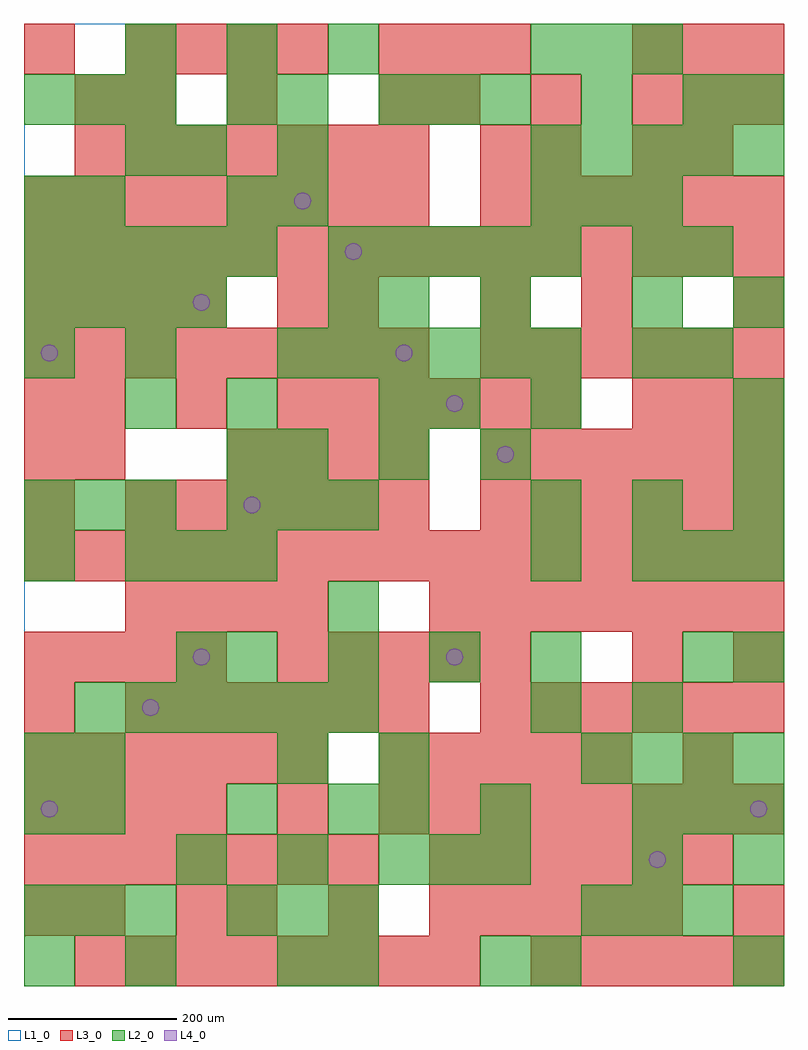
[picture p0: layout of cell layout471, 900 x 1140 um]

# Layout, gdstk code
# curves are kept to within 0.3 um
import gdstk
lib = gdstk.Library(unit=1e-6, precision=1e-09)
def R(c, l, rs):  # rectangles x0, y0, x1, y1
    for r in rs: c.add(gdstk.rectangle(r[:2], r[2:], *l))
def A(c, l, x, y, w, h, nx, ny, dx, dy):  # array of equal rectangles
    R(c, l, [(x+i*dx, y+j*dy, x+i*dx+w, y+j*dy+h) for i in range(nx) for j in range(ny)])
def P(c, l, *ps):  # polygons
    for p in ps: c.add(gdstk.Polygon(p, *l))
L1_0 = (1, 0)
L2_0 = (2, 0)
L3_0 = (3, 0)
L4_0 = (4, 0)

layout471 = lib.new_cell('layout471')
R(layout471, L1_0, [(0,0,900,1140)])
A(layout471, L2_0, 0, 60, 60, 60, 3, 3, 60, 480)
A(layout471, L2_0, 240, 60, 60, 60, 3, 2, 60, 480)
A(layout471, L2_0, 660, 60, 60, 60, 3, 1, 60, 0)
A(layout471, L2_0, 180, 120, 60, 60, 3, 1, 120, 0)
A(layout471, L2_0, 840, 120, 60, 60, 1, 3, 0, 240)
A(layout471, L2_0, 720, 180, 60, 60, 3, 2, 60, 300)
A(layout471, L2_0, 0, 240, 60, 60, 1, 3, 0, 240)
A(layout471, L2_0, 660, 240, 60, 60, 4, 1, 60, 0)
A(layout471, L2_0, 60, 300, 60, 60, 6, 1, 60, 0)
A(layout471, L2_0, 600, 300, 60, 60, 1, 3, 0, 180)
A(layout471, L2_0, 240, 360, 60, 60, 4, 1, 120, 0)
A(layout471, L2_0, 120, 480, 60, 60, 3, 1, 60, 0)
A(layout471, L2_0, 600, 540, 60, 60, 3, 1, 120, 0)
A(layout471, L2_0, 300, 600, 60, 60, 3, 1, 120, 0)
A(layout471, L2_0, 300, 720, 60, 60, 6, 1, 60, 0)
A(layout471, L2_0, 720, 720, 60, 60, 1, 3, 0, 60)
A(layout471, L2_0, 0, 780, 60, 60, 4, 1, 60, 0)
A(layout471, L2_0, 0, 840, 60, 60, 5, 1, 60, 0)
A(layout471, L2_0, 360, 840, 60, 60, 5, 1, 60, 0)
A(layout471, L2_0, 300, 900, 60, 60, 1, 3, 0, 60)
A(layout471, L2_0, 600, 900, 60, 60, 3, 2, 60, 180)
A(layout471, L2_0, 600, 960, 60, 60, 5, 1, 60, 0)
A(layout471, L2_0, 420, 1020, 60, 60, 3, 1, 60, 0)
A(layout471, L2_0, 120, 1080, 60, 60, 3, 1, 120, 0)
R(layout471, L2_0, [(0,0,60,60), (120,0,180,60), (300,0,360,60), (360,0,420,60), (540,0,600,60), (600,0,660,60), (840,0,900,60), (480,120,540,180), (540,120,600,180), (720,120,780,180), (0,180,60,240), (60,180,120,240), (240,180,300,240), (360,180,420,240), (420,180,480,240), (540,180,600,240), (60,240,120,300), (300,240,360,300), (420,240,480,300), (720,300,780,360), (180,360,240,420), (780,360,840,420), (360,420,420,480), (240,600,300,660), (120,660,180,720), (240,660,300,720), (420,660,480,720), (480,660,540,720), (840,660,900,720), (120,720,180,780), (780,720,840,780), (360,780,420,840), (420,780,480,840), (540,780,600,840), (840,780,900,840), (780,840,840,900), (0,900,60,960), (60,900,120,960), (240,900,300,960), (120,960,180,1020), (180,960,240,1020), (240,1020,300,1080), (660,1020,720,1080), (780,1020,840,1080), (840,1020,900,1080)])
A(layout471, L3_0, 60, 0, 60, 60, 8, 1, 60, 0)
A(layout471, L3_0, 600, 0, 60, 60, 5, 1, 60, 0)
A(layout471, L3_0, 0, 60, 60, 60, 1, 3, 0, 240)
A(layout471, L3_0, 240, 60, 60, 60, 3, 1, 120, 0)
A(layout471, L3_0, 540, 60, 60, 60, 4, 1, 60, 0)
A(layout471, L3_0, 0, 120, 60, 60, 7, 1, 60, 0)
A(layout471, L3_0, 480, 120, 60, 60, 6, 1, 60, 0)
A(layout471, L3_0, 0, 180, 60, 60, 4, 2, 60, 180)
A(layout471, L3_0, 420, 180, 60, 60, 8, 1, 60, 0)
A(layout471, L3_0, 0, 240, 60, 60, 6, 1, 60, 0)
A(layout471, L3_0, 420, 240, 60, 60, 5, 1, 60, 0)
A(layout471, L3_0, 120, 300, 60, 60, 6, 2, 60, 240)
A(layout471, L3_0, 540, 300, 60, 60, 6, 2, 60, 240)
A(layout471, L3_0, 300, 360, 60, 60, 5, 1, 60, 0)
A(layout471, L3_0, 120, 420, 60, 60, 4, 2, 60, 660)
A(layout471, L3_0, 480, 420, 60, 60, 7, 1, 60, 0)
A(layout471, L3_0, 0, 480, 60, 60, 15, 2, 60, 360)
A(layout471, L3_0, 240, 600, 60, 60, 4, 1, 60, 0)
A(layout471, L3_0, 540, 600, 60, 60, 6, 2, 60, 120)
A(layout471, L3_0, 60, 660, 60, 60, 3, 1, 120, 0)
A(layout471, L3_0, 360, 660, 60, 60, 5, 1, 60, 0)
A(layout471, L3_0, 720, 660, 60, 60, 3, 2, 60, 420)
A(layout471, L3_0, 0, 720, 60, 60, 8, 2, 60, 180)
A(layout471, L3_0, 0, 780, 60, 60, 4, 1, 60, 0)
A(layout471, L3_0, 540, 900, 60, 60, 6, 1, 60, 0)
A(layout471, L3_0, 60, 960, 60, 60, 7, 1, 60, 0)
A(layout471, L3_0, 480, 1020, 60, 60, 3, 1, 120, 0)
A(layout471, L3_0, 420, 1080, 60, 60, 3, 1, 60, 0)
R(layout471, L3_0, [(60,60,120,120), (180,60,240,120), (840,60,900,120), (300,180,360,240), (780,240,840,300), (720,360,780,420), (840,360,900,420), (0,600,60,660), (60,600,120,660), (0,660,60,720), (300,780,360,840), (360,780,420,840), (540,780,600,840), (660,780,720,840), (840,780,900,840), (540,960,600,1020), (600,960,660,1020), (720,960,780,1020), (780,960,840,1020), (60,1020,120,1080), (120,1020,180,1080), (240,1020,300,1080), (420,1020,480,1080), (780,1020,840,1080), (840,1020,900,1080), (0,1080,60,1140)])
P(layout471, L4_0, [(40,210),(39.239,213.827),(37.071,217.071),(33.827,219.239),(30,220),(26.173,219.239),(22.929,217.071),(20.761,213.827),(20,210),(20.761,206.173),(22.929,202.929),(26.173,200.761),(30,200),(33.827,200.761),(37.071,202.929),(39.239,206.173)],
  [(40,750),(39.239,753.827),(37.071,757.071),(33.827,759.239),(30,760),(26.173,759.239),(22.929,757.071),(20.761,753.827),(20,750),(20.761,746.173),(22.929,742.929),(26.173,740.761),(30,740),(33.827,740.761),(37.071,742.929),(39.239,746.173)],
  [(160,330),(159.239,333.827),(157.071,337.071),(153.827,339.239),(150,340),(146.173,339.239),(142.929,337.071),(140.761,333.827),(140,330),(140.761,326.173),(142.929,322.929),(146.173,320.761),(150,320),(153.827,320.761),(157.071,322.929),(159.239,326.173)],
  [(220,390),(219.239,393.827),(217.071,397.071),(213.827,399.239),(210,400),(206.173,399.239),(202.929,397.071),(200.761,393.827),(200,390),(200.761,386.173),(202.929,382.929),(206.173,380.761),(210,380),(213.827,380.761),(217.071,382.929),(219.239,386.173)],
  [(220,810),(219.239,813.827),(217.071,817.071),(213.827,819.239),(210,820),(206.173,819.239),(202.929,817.071),(200.761,813.827),(200,810),(200.761,806.173),(202.929,802.929),(206.173,800.761),(210,800),(213.827,800.761),(217.071,802.929),(219.239,806.173)],
  [(280,570),(279.239,573.827),(277.071,577.071),(273.827,579.239),(270,580),(266.173,579.239),(262.929,577.071),(260.761,573.827),(260,570),(260.761,566.173),(262.929,562.929),(266.173,560.761),(270,560),(273.827,560.761),(277.071,562.929),(279.239,566.173)],
  [(340,930),(339.239,933.827),(337.071,937.071),(333.827,939.239),(330,940),(326.173,939.239),(322.929,937.071),(320.761,933.827),(320,930),(320.761,926.173),(322.929,922.929),(326.173,920.761),(330,920),(333.827,920.761),(337.071,922.929),(339.239,926.173)],
  [(400,870),(399.239,873.827),(397.071,877.071),(393.827,879.239),(390,880),(386.173,879.239),(382.929,877.071),(380.761,873.827),(380,870),(380.761,866.173),(382.929,862.929),(386.173,860.761),(390,860),(393.827,860.761),(397.071,862.929),(399.239,866.173)],
  [(460,750),(459.239,753.827),(457.071,757.071),(453.827,759.239),(450,760),(446.173,759.239),(442.929,757.071),(440.761,753.827),(440,750),(440.761,746.173),(442.929,742.929),(446.173,740.761),(450,740),(453.827,740.761),(457.071,742.929),(459.239,746.173)],
  [(520,390),(519.239,393.827),(517.071,397.071),(513.827,399.239),(510,400),(506.173,399.239),(502.929,397.071),(500.761,393.827),(500,390),(500.761,386.173),(502.929,382.929),(506.173,380.761),(510,380),(513.827,380.761),(517.071,382.929),(519.239,386.173)],
  [(520,690),(519.239,693.827),(517.071,697.071),(513.827,699.239),(510,700),(506.173,699.239),(502.929,697.071),(500.761,693.827),(500,690),(500.761,686.173),(502.929,682.929),(506.173,680.761),(510,680),(513.827,680.761),(517.071,682.929),(519.239,686.173)],
  [(580,630),(579.239,633.827),(577.071,637.071),(573.827,639.239),(570,640),(566.173,639.239),(562.929,637.071),(560.761,633.827),(560,630),(560.761,626.173),(562.929,622.929),(566.173,620.761),(570,620),(573.827,620.761),(577.071,622.929),(579.239,626.173)],
  [(760,150),(759.239,153.827),(757.071,157.071),(753.827,159.239),(750,160),(746.173,159.239),(742.929,157.071),(740.761,153.827),(740,150),(740.761,146.173),(742.929,142.929),(746.173,140.761),(750,140),(753.827,140.761),(757.071,142.929),(759.239,146.173)],
  [(880,210),(879.239,213.827),(877.071,217.071),(873.827,219.239),(870,220),(866.173,219.239),(862.929,217.071),(860.761,213.827),(860,210),(860.761,206.173),(862.929,202.929),(866.173,200.761),(870,200),(873.827,200.761),(877.071,202.929),(879.239,206.173)])

lib.write_gds('layout471.gds')
